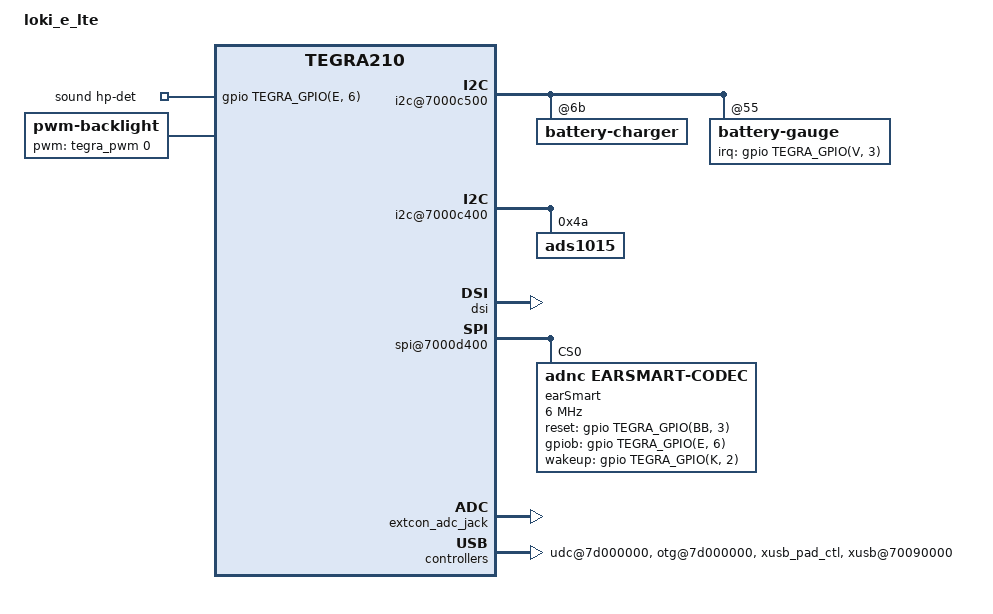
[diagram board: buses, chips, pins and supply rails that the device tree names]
/*
 * arch/arm64/boot/dts/tegra210-loki-e-p2530-0032-e00-00.dts
 *
 * Copyright (c) 2014, NVIDIA CORPORATION.  All rights reserved.
 *
 * This program is free software; you can redistribute it and/or modify
 * it under the terms of the GNU General Public License as published by
 * the Free Software Foundation; version 2 of the License.
 *
 * This program is distributed in the hope that it will be useful, but WITHOUT
 * ANY WARRANTY; without even the implied warranty of MERCHANTABILITY or
 * FITNESS FOR A PARTICULAR PURPOSE.  See the GNU General Public License for
 * more details.
 *
 * You should have received a copy of the GNU General Public License along
 * with this program; if not, write to the Free Software Foundation, Inc.,
 * 51 Franklin Street, Fifth Floor, Boston, MA  02110-1301, USA.
 *
 */
#include <dt-bindings/types.h>
/dts-v1/;

/memreserve/ 0x80000000 0x00020000;

#include "tegra210-common.dtsi"
#include "tegra210-platforms/tegra210-loki-e-p2530-common.dtsi"
#include "tegra210-platforms/tegra210-loki-power-tree-p2530-0999-e00.dtsi"
#include "tegra210-platforms/tegra210-loki-e-gpio-p2530-0032-e00.dtsi"
#include "tegra210-platforms/tegra210-loki-e-pinmux-p2530-0032-e00.dtsi"
#include "tegra210-platforms/tegra210-loki-e-comms.dtsi"
#include "tegra210-platforms/tegra210-loki-e-pwm-fan.dtsi"
#include "tegra210-platforms/tegra210-loki-sdhci.dtsi"
#include "panel-j-1440-810-5-8.dtsi"
#include "tegra210-platforms/tegra210-ers-hdmi-e2190-1100-a00.dtsi"
#include "tegra210-platforms/tegra210-ers-touch-e1937-1000-a00.dtsi"
#include "tegra210-platforms/tegra210-loki-e-sensor-p2530-0032-e00.dtsi"
#include "tegra210-platforms/tegra210-loki-e-thermal-fan-est.dtsi"
#include "tegra210-platforms/tegra210-loki-e-camera-p2530-0032-e00.dtsi"
#include "tegra210-platforms/tegra210-loki-e-keys-p2530-0032-e00.dtsi"
#include "tegra210-platforms/tegra210-loki-maxim-charger.dtsi"
#include "tegra210-platforms/tegra210-loki-e-powermon.dtsi"

/ {
	model = "loki_e_lte";
	compatible = "nvidia,loki-e", "nvidia,tegra210";
	nvidia,dtsfilename = __FILE__;

	i2c@7000c500 {
		battery-charger@6b {
			charger {
				dt-override-status-odm-data = <0x00C00000 0x00400000>;
			};
		};

		battery-gauge@55 {
			interrupt-parent = <&gpio>;
			interrupts = <TEGRA_GPIO(V, 3) 0x0>;
			dt-override-status-odm-data = <0x00C00000 0x00400000>;
		};
	};

	i2c@7000c400 {
		ads1015: ads1015@4a {
			reg = <0x4a>;
			compatible = "ads1015";
			#io-channel-cells = <1>;
		};
	};

	host1x {
		/* tegradc.0 */
		dc@54200000 {
			status = "okay";
			nvidia,dc-flags = <TEGRA_DC_FLAG_ENABLED>;
			nvidia,emc-clk-rate = <204000000>;
			nvidia,cmu-enable = <1>;
			nvidia,fb-bpp = <32>; /* bits per pixel */
			nvidia,fb-flags = <TEGRA_FB_FLIP_ON_PROBE>;
		};
		/* tegradc.1 */
		dc@54240000 {
			status = "okay";
			nvidia,dc-flags = <TEGRA_DC_FLAG_ENABLED>;
			nvidia,emc-clk-rate = <300000000>;
			nvidia,fb-bpp = <32>; /* bits per pixel */
			nvidia,fb-flags = <TEGRA_FB_FLIP_ON_PROBE>;
		};
		dsi {
			nvidia,dsi-controller-vs = <DSI_VS_1>;
			status = "okay";
			panel-j-1440-810-5-8 {
				nvidia,dsi-dpd-pads = <DSIC_DPD_EN DSID_DPD_EN>;
				nvidia,panel-rst-gpio = <&gpio TEGRA_GPIO(V, 2) 0>; /* PV2 */
				nvidia,panel-bl-pwm-gpio = <&gpio TEGRA_GPIO(V, 0) 0>; /* PV0 */
				nvidia,panel-en-gpio = <&gpio TEGRA_GPIO(V, 1) 0>; /* PV1 */
			};
		};
	};

	spi@7000d400 {
		status = "okay";
		earSmart: earSmart-codec@0 {
			compatible = "adnc,earSmart-codec";
			reg = <0>;
			spi-max-frequency = <6000000>;
			spi-cpha;

			adnc,reset-gpio = <&gpio TEGRA_GPIO(BB, 3) GPIO_ACTIVE_HIGH>;
			adnc,gpiob-gpio = <&gpio TEGRA_GPIO(E, 6) GPIO_ACTIVE_HIGH>;
			adnc,wakeup-gpio = <&gpio TEGRA_GPIO(K, 2) GPIO_ACTIVE_HIGH>;

			adnc,int-gpio = <(-1)>;
			adnc,gpioa-gpio = <(-1)>;
			adnc,enable_hs_uart_intf = <0>;
			adnc,ext_clk_rate = <0>;
			adnc,debounce_timer = <3>;
			adnc,plug_det_enabled = <1>;
			adnc,mic_det_enabled = <1>;

			adnc,gpio_b_irq_type = <4>;
			adnc,cmd_comp_mode = <0>;

			/* Button Control 1 */
			adnc,btn_press_settling_time = <4>;
			adnc,btn_press_polling_rate = <1>;
			adnc,btn_press_det_act = <1>;

			/* Button Control 2 */
			adnc,double_btn_timer = <(-1)>;
			adnc,mic_det_settling_timer = <(-1)>;

			/* Button Control 3 */
			adnc,long_btn_timer = <(-1)>;
			adnc,adc_btn_mute = <(-1)>;

			/* Button Control 4 */
			adnc,valid_levels = <31>;
			adnc,impd_det_timer = <0>;
		};
	};

	ahub {
		i2s@702d1100 {
			pinctrl-names = "dap_active", "dap_inactive";
			pinctrl-0 = <>;
			pinctrl-1 = <>;
			regulator-supplies = "vdd-1v8-spi-hv", "vdd-1v8-spi-hv-bias";
			vdd-1v8-spi-hv-supply = <&max77620_sd3>;
			vdd-1v8-spi-hv-bias-supply = <&max77620_sd3>;
			fsync-width = <0>;
		};
	};

	sound {
		compatible = "nvidia,tegra-audio-t210ref-mobile-es755";
		nvidia,model = "tegra-snd-t210ref-mobile-es755";
		nvidia,hp-det-gpios = <&gpio TEGRA_GPIO(E, 6) GPIO_ACTIVE_HIGH>;
		nvidia,num-codec-link = <2>;

		nvidia,audio-routing =
			"y Headphone", 	"y OUT",
			"y IN",		"y Mic";

		nvidia,xbar = <&tegra_axbar>;

		nvidia,dai-link-1 {
			link-name = "earSmart-playback";
			cpu-dai = <&tegra_i2s1>;
			codec-dai = <&earSmart>;
			cpu-dai-name = "I2S1";
			codec-dai-name = "earSmart-porta";
			format = "i2s";
			bitclock-slave;
			frame-slave;
			bitclock-noninversion;
			frame-noninversion;
			bit-format = "s16_le";
			bclk_ratio = <0>;
			srate = <48000>;
			num-channel = <2>;
			name-prefix = "x";
		};
		nvidia,dai-link-2 {
			link-name = "spdif-dit-1";
			cpu-dai = <&tegra_i2s2>;
			codec-dai = <&spdif_dit1>;
			cpu-dai-name = "I2S2";
			codec-dai-name = "dit-hifi";
			format = "dsp_a";
			bitclock-slave;
			frame-slave;
			bitclock-inversion;
			frame-inversion;
			bit-format = "s16_le";
			bclk_ratio = <4>;
			srate = <8000>;
			num-channel = <1>;
			name-prefix = "y";
		};
	};

	extcon {
		extcon@0 {
			status = "disabled";
		};

		extcon_adc_jack: extcon@1 {
			compatible = "extcon-adc-jack";
			reg = <0x1>;
			interrupt-parent = <&max77620>;
			interrupts = <0 0 3>;
			extcon-adc-jack,irq-flags = <3>;
			extcon-adc-jack,cable-names = "ID-GND", "ID-NV", "ID-RA", "ID-RB", "ID-RC";
			extcon-adc-jack,states = <0x1    0     20
						  0x2    50    100
						  0x4    380   415
						  0x8    215   245
						  0x10    115   140>;
			io-channels = <&ads1015 4>;
			io-channel-names = "id-resistance";
			#extcon-cells = <1>;
		};

		extcon_cable_xlate: extcon@2 {
			compatible = "extcon-cable-xlate";
			reg = <0x2>;
			extcon-name = "cable-xlate";
			cable-insert-delay = <500>;
			output-cable-names = "USB", "USB-Host", "ACA-NV", "Y-Cable", "ACA-A", "ACA-B", "ACA-C";
	                extcon-cables = <&bq2419x 0 &extcon_adc_jack 0 &extcon_adc_jack 1 &extcon_adc_jack 2 &extcon_adc_jack 3 &extcon_adc_jack 4>;
			extcon-cable-names = "vbus", "id", "aca-nv", "aca-ra", "aca-rb", "aca-rc";
			cable-states = <0x0	0x3F	0x0
					0x1	0x3F	0x1
					0x2	0x3F	0x2
					0x4	0x3F	0x4
					0x5	0x3F	0x4
					0x3	0x3F	0x8
					0x8	0x3F	0x10
					0x10	0x3F	0x20
					0x20	0x3F	0x40>;
			#extcon-cells = <1>;
		};
	};

	udc@7d000000 {
		nvidia,port-otg;
		nvidia,charging-supported;
		nvidia,enable-pmu-vbus-detection;
		nvidia,id-detection-type = <1>;
		nvidia,enable-aca-nv-charger-detection;
		nvidia,dcp-current-limit-ma = <2000>;
		extcon-cables = <&extcon_cable_xlate 0 &extcon_cable_xlate 2>;
		extcon-cable-names = "vbus", "aca-nv";
		#extcon-cells = <1>;
		status = "okay";
	};

	otg@7d000000 {
		nvidia,enable-pmu-vbus-detection;
		nvidia,id-detection-type = <1>;
		nvidia,enable-aca-nv-charger-detection;
		nvidia,enable-y-cable-detection;
		extcon-cables = <&extcon_cable_xlate 0 &extcon_cable_xlate 1 &extcon_cable_xlate 2 &extcon_cable_xlate 3>;
		extcon-cable-names = "vbus", "id", "aca-nv", "y-cable";
		#extcon-cells = <1>;
		status = "okay";
	};

	psy_extcon {
		status = "okay";
	};

	camera-pcl {
		profiles {
			ov7695@6_0021 {
				use_of_node = "yes";
				vana-supply = <&max77620_ldo3>;
				vif2-supply = <&en_vdd_cam>;
				cam1-gpios = <&gpio TEGRA_GPIO(S, 7) 0>;
			};
		};
	};

	/* Put common control config here */
	xusb_pad_ctl: padctl@0 {
		nvidia,ss_portmap = <0x7770>;
		nvidia,lane_owner = <0xFFFF>; /* Use 0xF to disable lane assign */
		status = "okay";
	};

	xusb@70090000 {
		/* nvidia,uses_external_pmic;
		/* nvidia,gpio_controls_muxed_ss_lanes; */
		nvidia,gpio_ss1_sata = <0>;
		nvidia,ulpicap = <0>; /* No ulpi support. can we remove */
		nvidia,portmap = <0x0400>;
		nvidia,common_padctl = <&xusb_pad_ctl>;
		status = "okay";
	};

	 xudc@700d0000 {
                nvidia,common_padctl = <&xusb_pad_ctl>;
		extcon-cables = <&extcon_cable_xlate 0 &extcon_cable_xlate 1>;
		extcon-cable-names = "vbus", "id";
                #extcon-cells = <1>;
                status = "disabled";
        };

	backlight {
		compatible = "pwm-backlight";
		status = "okay";
		pwms = <&tegra_pwm 0 29334>;
	};

	gpu-dvfs-rework {
		status = "disabled";
	};

	thermal-zones {
		CPU_therm {
			thermal-zone-params {
				governor-name = "pid_thermal_gov";
				max_err_temp = <9000>;
				max_err_gain = <1000>;
				gain_p = <1000>;
				gain_d = <0>;
				up_compensation = <20>;
				down_compensation = <20>;
			};
			trips {
				cpu_critical {
					temperature = <99000>;
					hysteresis = <0>;
					type = "critical";
					writable;
				};
				cpu_heavy {
					temperature = <95000>;
					hysteresis = <0>;
					type = "hot";
					writable;
				};
				cpu_throttle {
					temperature = <85500>;
					hysteresis = <0>;
					type = "passive";
					writable;
				};
			};
			cooling-maps {
				map0 {
					trip = <&{/thermal-zones/CPU_therm/trips/cpu_critical}>;
					cdev-type = "tegra-shutdown";
					cooling-device = <&{/soctherm@0x700E2000/throttle@critical}
						THERMAL_NO_LIMIT THERMAL_NO_LIMIT>;
				};
				map1 {
					trip = <&{/thermal-zones/CPU_therm/trips/cpu_heavy}>;
					cdev-type = "tegra-heavy";
					cooling-device = <&{/soctherm@0x700E2000/throttle@heavy}
						THERMAL_NO_LIMIT THERMAL_NO_LIMIT>;
				};
				map2 {
					trip = <&{/thermal-zones/CPU_therm/trips/cpu_throttle}>;
					cdev-type = "cpu-balanced";
					cooling-device = <&{/bthrot_cdev/cpu_balanced}
						THERMAL_NO_LIMIT THERMAL_NO_LIMIT>;
				};
			};
		};
		GPU_therm {
			thermal-zone-params {
				governor-name = "pid_thermal_gov";
				max_err_temp = <9000>;
				max_err_gain = <1000>;
				gain_p = <1000>;
				gain_d = <0>;
				up_compensation = <20>;
				down_compensation = <20>;
			};
			trips {
				gpu_critical {
					temperature = <97500>;
					hysteresis = <0>;
					type = "critical";
					writable;
				};
				gpu_heavy {
					temperature = <94500>;
					hysteresis = <0>;
					type = "hot";
					writable;
				};
				gpu_throttle {
					temperature = <85000>;
					hysteresis = <0>;
					type = "passive";
					writable;
				};
			};
			cooling-maps {
				map0 {
					trip = <&{/thermal-zones/GPU_therm/trips/gpu_critical}>;
					cdev-type = "tegra-shutdown";
					cooling-device = <&{/soctherm@0x700E2000/throttle@critical}
						THERMAL_NO_LIMIT THERMAL_NO_LIMIT>;
				};
				map1 {
					trip = <&{/thermal-zones/GPU_therm/trips/gpu_heavy}>;
					cdev-type = "tegra-heavy";
					cooling-device = <&{/soctherm@0x700E2000/throttle@heavy}
						THERMAL_NO_LIMIT THERMAL_NO_LIMIT>;
				};
				map2 {
					trip = <&{/thermal-zones/GPU_therm/trips/gpu_throttle}>;
					cdev-type = "gpu-balanced";
					cooling-device = <&{/bthrot_cdev/gpu_balanced}
						THERMAL_NO_LIMIT THERMAL_NO_LIMIT>;
				};
			};
		};
		MEM_therm {
			trips {
				mem_critical {
					temperature = <97500>;
					hysteresis = <0>;
					type = "critical";
					writable;
				};
			};
			cooling-maps {
				map0 {
					trip = <&{/thermal-zones/MEM_therm/trips/mem_critical}>;
					cdev-type = "tegra-shutdown";
					cooling-device = <&{/soctherm@0x700E2000/throttle@critical}
						THERMAL_NO_LIMIT THERMAL_NO_LIMIT>;
				};
			};
		};
		PLL_therm {
			trips {
				pll_critical {
					temperature = <100000>;
					hysteresis = <0>;
					type = "critical";
					writable;
				};
			};
			cooling-maps {
				map0 {
					trip = <&{/thermal-zones/PLL_therm/trips/pll_critical}>;
					cdev-type = "tegra-shutdown";
					cooling-device = <&{/soctherm@0x700E2000/throttle@critical}
						THERMAL_NO_LIMIT THERMAL_NO_LIMIT>;
				};
			};
		};

		Charger-Die {
			status = "okay";
		};
	};

    sysedp_batmon_calc {
        compatible = "nvidia,tegra124-sysedp_batmon_calc";
        power_supply = "battery";
        update_interval = <30000>;
        ocv_lut = <
            100 4150000
            60 3710000
            30 3550000
            0 3330000
        >;
        ibat_lut = <
            60 15600
            40 15600
            0 15600
            S32_TO_U32(-30) 0
        >;
        rbat_data = <
            100000
            100000
        >;
        temp_axis = <25>;
        capacity_axis = <100 0>;
        r_const = <18000>;
        vsys_min = <2600000>;
    };

    sysedp {
        compatible = "nvidia,tegra124-sysedp";
        nvidia,margin = <0>;
        nvidia,min_budget = <0>;
        nvidia,initial_budget = <30000>;

        consumers {
            consumer1 {
                nvidia,consumer_name = "camera";
                nvidia,states = <0 124>;
            };
            consumer2 {
                nvidia,consumer_name = "primary-wifi";
                nvidia,states = <0 2345>;
            };
            consumer3 {
                nvidia,consumer_name = "secondary-wifi";
                nvidia,states = <0 1170>;
            };
            /*eMMC*/
            consumer4 {
                nvidia,consumer_name = "sdhci-tegra.3";
                nvidia,states = <0 1785>;
            };
            consumer5 {
                nvidia,consumer_name = "display+touch";
                nvidia,states = <0 616>;
            };
            consumer6 {
                nvidia,consumer_name = "codec+speaker";
                nvidia,states = <0 1270>;
            };
            consumer7 {
                nvidia,consumer_name = "backlight";
                nvidia,states = <0 127 255 382 510 638 765 893 1020 1148 1276>;
            };
            /*SD Card */
            consumer8 {
                nvidia,consumer_name = "sdhci-tegra.0";
                nvidia,states = <0 1785>;
            };
        };
    };

	gpio: gpio@6000d000 {
		uart_over_jack {
			status = "disabled";
			gpio-output-high = <TEGRA_GPIO(DD, 0)>;
			dt-override-status-odm-data = <0x80000000 0x80000000>;
		};
	};
};
